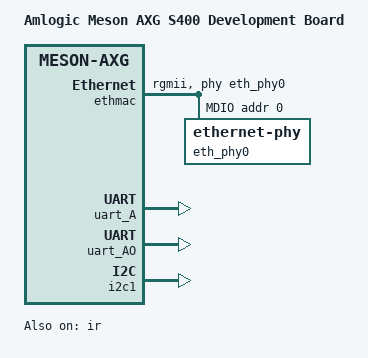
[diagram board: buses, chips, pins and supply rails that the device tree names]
// SPDX-License-Identifier: (GPL-2.0+ OR MIT)
/*
 * Copyright (c) 2017 Amlogic, Inc. All rights reserved.
 */

/dts-v1/;

#include "meson-axg.dtsi"

/ {
	compatible = "amlogic,s400", "amlogic,a113d", "amlogic,meson-axg";
	model = "Amlogic Meson AXG S400 Development Board";

	aliases {
		serial0 = &uart_AO;
		serial1 = &uart_A;
	};
};

&ethmac {
	status = "okay";
	pinctrl-0 = <&eth_rgmii_y_pins>;
	pinctrl-names = "default";
	phy-handle = <&eth_phy0>;
	phy-mode = "rgmii";

	mdio {
		compatible = "snps,dwmac-mdio";
		#address-cells = <1>;
		#size-cells = <0>;

		eth_phy0: ethernet-phy@0 {
			/* Realtek RTL8211F (0x001cc916) */
			reg = <0>;
			eee-broken-1000t;
		};
	};
};

&uart_A {
	status = "okay";
	pinctrl-0 = <&uart_a_pins>;
	pinctrl-names = "default";
};

&uart_AO {
	status = "okay";
	pinctrl-0 = <&uart_ao_a_pins>;
	pinctrl-names = "default";
};

&ir {
	status = "okay";
	pinctrl-0 = <&remote_input_ao_pins>;
	pinctrl-names = "default";
};

&i2c1 {
	status = "okay";
	pinctrl-0 = <&i2c1_z_pins>;
	pinctrl-names = "default";
};
